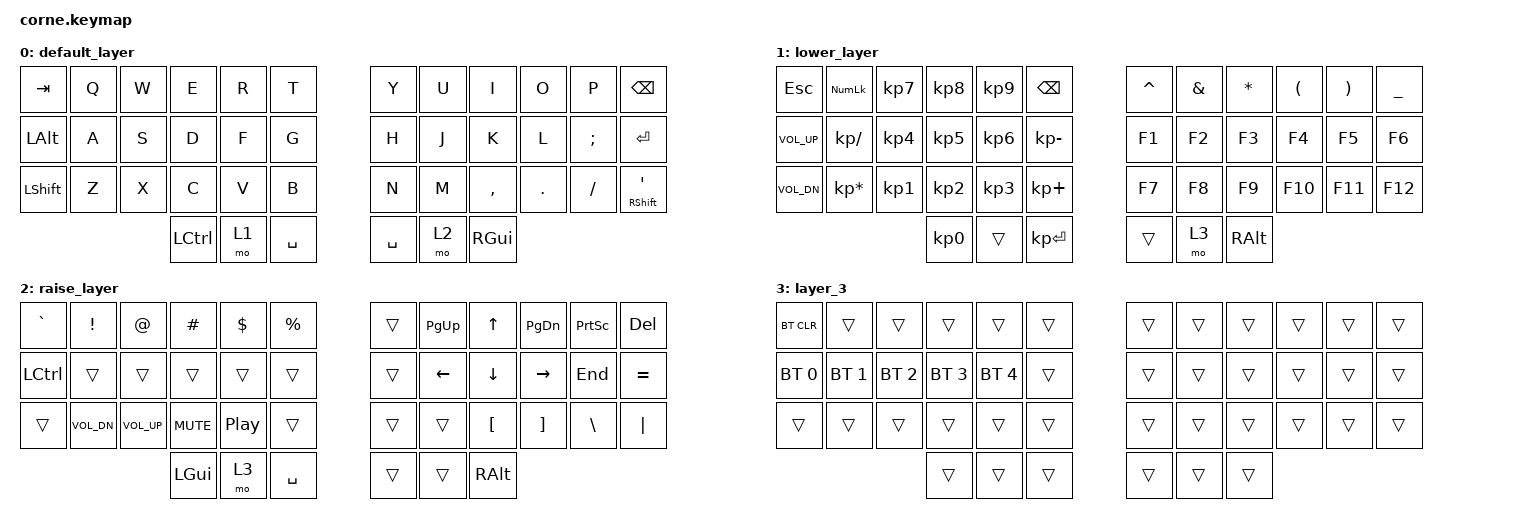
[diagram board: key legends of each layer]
/*
 * Copyright (c) 2020 The ZMK Contributors
 *
 * SPDX-License-Identifier: MIT
 */

#include <behaviors.dtsi>
#include <dt-bindings/zmk/bt.h>
#include <dt-bindings/zmk/keys.h>

/ {
    keymap {
        compatible = "zmk,keymap";

        default_layer {
            // -----------------------------------------------------------------------------------------
            // |  TAB |  Q  |  W  |  E  |  R  |  T  |   |  Y  |  U   |  I  |  O  |  P  |  BKSP |
            // |  ALT |  A  |  S  |  D  |  F  |  G  |   |  H  |  J   |  K  |  L  |  ;  |  ENT  |
            // | SHFT |  Z  |  X  |  C  |  V  |  B  |   |  N  |  M   |  ,  |  .  |  /  |SQT/SFT|
            //                    |CTRL | LWR | SPC |   | SPC | RSE  | GUI |

            bindings = <
&kp TAB    &kp Q  &kp W  &kp E      &kp R  &kp T        &kp Y      &kp U  &kp I      &kp O    &kp P     &kp BSPC
&kp LALT   &kp A  &kp S  &kp D      &kp F  &kp G        &kp H      &kp J  &kp K      &kp L    &kp SEMI  &kp RET
&kp LSHFT  &kp Z  &kp X  &kp C      &kp V  &kp B        &kp N      &kp M  &kp COMMA  &kp DOT  &kp FSLH  &mt RSHFT SQT
                         &kp LCTRL  &mo 1  &kp SPACE    &kp SPACE  &mo 2  &kp RGUI
            >;
        };

        lower_layer {
            // -----------------------------------------------------------------------------------------
            // |  ESC | NLCK|  7  |  8  |  9  | BSPC|   |  ^  |  &  |  *  |  (  |  )  |  _   |
            // |  VUP |  /  |  4  |  5  |  6  |  -  |   | F1  | F2  | F3  | F4  | F5  | F6   |
            // |  VDN |  *  |  1  |  2  |  3  |  +  |   | F7  | F8  | F9  | F10 | F11 | F12  |
            //                    |  0  |     | ENT |   |     |     | ALT |

            bindings = <
&kp ESC       &kp KP_NLCK      &kp KP_N7  &kp KP_N8  &kp KP_N9  &kp BSPC        &kp CARET  &kp AMPS  &kp STAR  &kp LPAR  &kp RPAR  &kp UNDER
&kp C_VOL_UP  &kp KP_DIVIDE    &kp KP_N4  &kp KP_N5  &kp KP_N6  &kp KP_MINUS    &kp F1     &kp F2    &kp F3    &kp F4    &kp F5    &kp F6
&kp C_VOL_DN  &kp KP_MULTIPLY  &kp KP_N1  &kp KP_N2  &kp KP_N3  &kp KP_PLUS     &kp F7     &kp F8    &kp F9    &kp F10   &kp F11   &kp F12
                                          &kp KP_N0  &trans     &kp KP_ENTER    &trans     &mo 3     &kp RALT
            >;
        };

        raise_layer {
            // -----------------------------------------------------------------------------------------
            // |  ~   |  !  |  @  |  #    |  $  |  %  |   |     | PGUP| UP  | PGDN|PSCRN| DEL |
            // |BTCLR | BT1 | BT2 |  BT3  | BT4 |     |   |     | LFT | DWN | RGT | END |  =  |
            // |      | VDN | VUP | Mute| PlyPse|     |   |     |     | "[" | "]" |  \  | "|" |
            //                    |  GUI  |     | SPC |   |     |     | ALT |

            bindings = <
&kp GRAVE  &kp EXCL      &kp AT        &kp HASH    &kp DLLR          &kp PRCNT    &trans  &kp PG_UP  &kp UP    &kp PG_DN  &kp PSCRN  &kp DEL
&kp LCTRL  &trans        &trans        &trans      &trans            &trans       &trans  &kp LEFT   &kp DOWN  &kp RIGHT  &kp END    &kp EQUAL
&trans     &kp C_VOL_DN  &kp C_VOL_UP  &kp C_MUTE  &kp C_PLAY_PAUSE  &trans       &trans  &trans     &kp LBKT  &kp RBKT   &kp BSLH   &kp PIPE
                                       &kp LGUI    &mo 3             &kp SPACE    &trans  &trans     &kp RALT
            >;
        };

        layer_3 {
            bindings = <
&bt BT_CLR    &trans        &trans        &trans        &trans        &trans    &trans  &trans  &trans  &trans  &trans  &trans
&bt BT_SEL 0  &bt BT_SEL 1  &bt BT_SEL 2  &bt BT_SEL 3  &bt BT_SEL 4  &trans    &trans  &trans  &trans  &trans  &trans  &trans
&trans        &trans        &trans        &trans        &trans        &trans    &trans  &trans  &trans  &trans  &trans  &trans
                                          &trans        &trans        &trans    &trans  &trans  &trans
            >;
        };
    };
};
